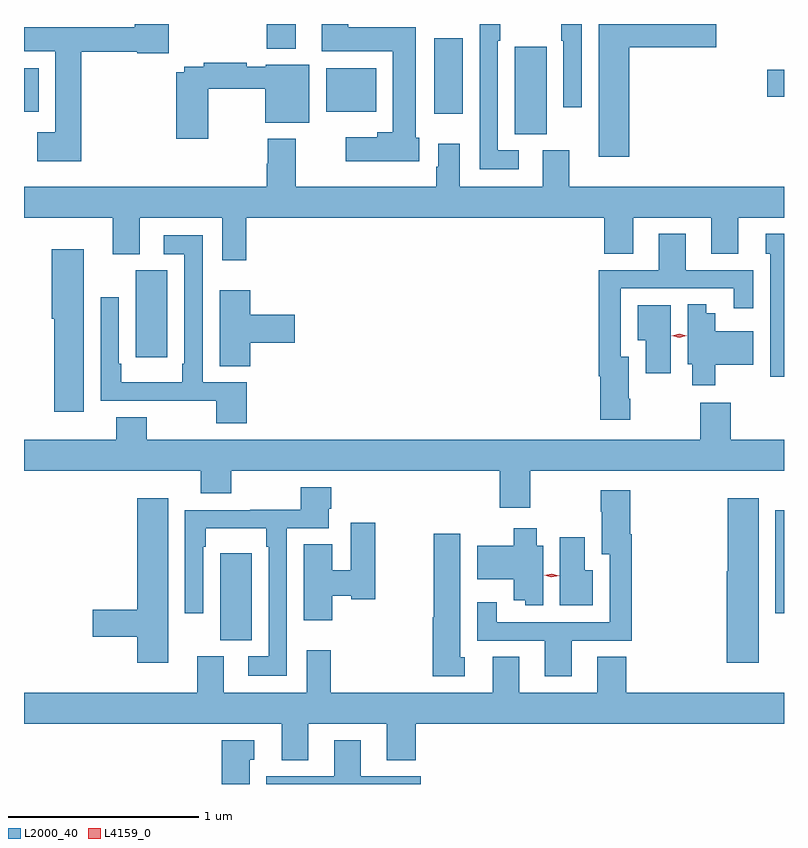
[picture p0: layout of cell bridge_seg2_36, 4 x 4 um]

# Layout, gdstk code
import gdstk
lib = gdstk.Library(unit=1e-6, precision=1e-09)
def R(c, l, rs):  # rectangles x0, y0, x1, y1
    for r in rs: c.add(gdstk.rectangle(r[:2], r[2:], *l))
def P(c, l, *ps):  # polygons
    for p in ps: c.add(gdstk.Polygon(p, *l))
L2000_40 = (2000, 40)
L4159_0 = (4159, 0)

bridge_seg2_36 = lib.new_cell('bridge_seg2_36')
R(bridge_seg2_36, L2000_40, [(768.737,606.785,768.904,607.243), (771.66,606.927,771.705,607.47), (768.293,608.274,768.46,608.731), (770.288,609.449,770.455,609.907), (769.865,609.555,770.014,609.953), (767.705,609.566,767.782,609.796), (769.295,609.566,769.558,609.796), (771.618,609.646,771.705,609.788), (768.983,609.899,769.135,610.028)])
P(bridge_seg2_36, L2000_40, [(770.891,609.905),(771.349,609.905),(771.349,610.028),(770.729,610.028),(770.729,609.33),(770.891,609.33)],
  [(769.786,609.429),(769.768,609.429),(769.768,610.012),(769.411,610.012),(769.411,610.028),(769.271,610.028),(769.271,609.884),(769.646,609.884),(769.646,609.457),(769.563,609.457),(769.563,609.433),(769.398,609.433),(769.398,609.305),(769.786,609.305)],
  [(770.64,610.028),(770.532,610.028),(770.532,609.941),(770.544,609.941),(770.544,609.591),(770.64,609.591)],
  [(770.308,609.364),(770.199,609.364),(770.199,609.941),(770.212,609.941),(770.212,610.028),(770.103,610.028),(770.103,609.263),(770.308,609.263)],
  [(768.005,609.883),(768.3,609.883),(768.3,609.875),(768.467,609.875),(768.467,610.028),(768.289,610.028),(768.289,610.012),(767.705,610.012),(767.705,609.884),(767.87,609.884),(767.87,609.457),(767.775,609.457),(767.775,609.305),(768.005,609.305)],
  [(768.676,609.688),(768.974,609.688),(768.974,609.509),(769.207,609.509),(769.207,609.814),(768.978,609.814),(768.978,609.804),(768.878,609.804),(768.878,609.824),(768.652,609.824),(768.652,609.804),(768.548,609.804),(768.548,609.775),(768.506,609.775),(768.506,609.423),(768.676,609.423)],
  [(768.875,609.008),(770.759,609.008),(770.759,608.818),(770.911,608.818),(770.911,609.008),(771.323,609.008),(771.323,608.818),(771.463,608.818),(771.463,609.008),(771.705,609.008),(771.705,609.172),(770.575,609.172),(770.575,609.364),(770.435,609.364),(770.435,609.172),(769.999,609.172),(769.999,609.397),(769.886,609.397),(769.886,609.276),(769.874,609.276),(769.874,609.172),(769.135,609.172),(769.135,609.424),(768.988,609.424),(768.988,609.293),(768.983,609.293),(768.983,609.172),(767.705,609.172),(767.705,609.008),(768.173,609.008),(768.173,608.816),(768.313,608.816),(768.313,609.008),(768.749,609.008),(768.749,608.784),(768.875,608.784)],
  [(770.895,608.056),(770.887,608.056),(770.887,608.278),(770.847,608.278),(770.847,608.637),(771.44,608.637),(771.44,608.532),(771.544,608.532),(771.544,608.733),(771.187,608.733),(771.187,608.923),(771.047,608.923),(771.047,608.733),(770.731,608.733),(770.731,608.174),(770.738,608.174),(770.738,607.944),(770.895,607.944)],
  [(771.705,608.923),(771.608,608.923),(771.608,608.82),(771.632,608.82),(771.632,608.172),(771.705,608.172)],
  [(768.878,608.142),(768.645,608.142),(768.645,608.917),(768.441,608.917),(768.441,608.816),(768.549,608.816),(768.549,608.239),(768.537,608.239),(768.537,608.143),(768.217,608.143),(768.217,608.239),(768.204,608.239),(768.204,608.59),(768.108,608.59),(768.108,608.046),(768.452,608.046),(768.452,608.045),(768.718,608.045),(768.718,607.926),(768.878,607.926)],
  [(768.019,608.842),(767.852,608.842),(767.852,608.478),(767.863,608.478),(767.863,607.986),(768.019,607.986)],
  [(768.896,608.351),(769.129,608.351),(769.129,608.498),(768.896,608.498),(768.896,608.626),(768.734,608.626),(768.734,608.227),(768.896,608.227)],
  [(771.343,608.234),(771.544,608.234),(771.544,608.41),(771.343,608.41),(771.343,608.506),(771.295,608.506),(771.295,608.552),(771.198,608.552),(771.198,608.238),(771.221,608.238),(771.221,608.126),(771.343,608.126)],
  [(771.109,608.548),(770.936,608.548),(770.936,608.363),(770.978,608.363),(770.978,608.19),(771.109,608.19)],
  [(770.37,607.676),(771.705,607.676),(771.705,607.84),(771.425,607.84),(771.425,608.035),(771.265,608.035),(771.265,607.84),(768.351,607.84),(768.351,607.957),(768.191,607.957),(768.191,607.84),(767.705,607.84),(767.705,607.676),(768.635,607.676),(768.635,607.559),(768.795,607.559),(768.795,607.676),(770.21,607.676),(770.21,607.482),(770.37,607.482)],
  [(769.089,607.374),(769.309,607.374),(769.309,607.478),(769.322,607.478),(769.322,607.591),(769.162,607.591),(769.162,607.472),(768.896,607.472),(768.896,607.47),(768.552,607.47),(768.552,606.927),(768.648,606.927),(768.648,607.277),(768.661,607.277),(768.661,607.373),(768.981,607.373),(768.981,607.277),(768.993,607.277),(768.993,606.7),(768.885,606.7),(768.885,606.599),(769.089,606.599)],
  [(770.587,606.783),(770.903,606.783),(770.903,607.342),(770.897,607.342),(770.897,607.573),(770.74,607.573),(770.74,607.46),(770.747,607.46),(770.747,607.238),(770.787,607.238),(770.787,606.879),(770.194,606.879),(770.194,606.985),(770.09,606.985),(770.09,606.783),(770.447,606.783),(770.447,606.594),(770.587,606.594)],
  [(768.463,607.531),(768.302,607.531),(768.302,606.944),(768.066,606.944),(768.066,606.802),(768.302,606.802),(768.302,606.666),(768.463,606.666)],
  [(771.571,607.531),(771.41,607.531),(771.41,607.149),(771.404,607.149),(771.404,606.666),(771.571,606.666)],
  [(769.327,607.019),(769.428,607.019),(769.428,607.001),(769.554,607.001),(769.554,607.402),(769.424,607.402),(769.424,607.153),(769.327,607.153),(769.327,607.289),(769.178,607.289),(769.178,606.891),(769.327,606.891)],
  [(770.437,607.282),(770.404,607.282),(770.404,607.375),(770.282,607.375),(770.282,607.282),(770.09,607.282),(770.09,607.106),(770.282,607.106),(770.282,606.995),(770.343,606.995),(770.343,606.968),(770.437,606.968)],
  [(770.026,606.696),(770.002,606.696),(770.002,607.345),(769.861,607.345),(769.861,606.906),(769.856,606.906),(769.856,606.594),(770.026,606.594)],
  [(770.698,607.153),(770.656,607.153),(770.656,607.327),(770.525,607.327),(770.525,606.968),(770.698,606.968)],
  [(769.201,606.344),(769.613,606.344),(769.613,606.154),(769.766,606.154),(769.766,606.344),(771.705,606.344),(771.705,606.508),(770.876,606.508),(770.876,606.698),(770.723,606.698),(770.723,606.508),(770.311,606.508),(770.311,606.698),(770.171,606.698),(770.171,606.508),(769.319,606.508),(769.319,606.733),(769.193,606.733),(769.193,606.508),(768.757,606.508),(768.757,606.7),(768.617,606.7),(768.617,606.508),(767.705,606.508),(767.705,606.344),(769.061,606.344),(769.061,606.154),(769.201,606.154)],
  [(768.892,606.156),(768.916,606.156),(768.916,606.259),(768.746,606.259),(768.746,606.028),(768.892,606.028)],
  [(769.793,606.069),(769.477,606.069),(769.477,606.259),(769.337,606.259),(769.337,606.069),(768.98,606.069),(768.98,606.028),(769.793,606.028)])
P(bridge_seg2_36, L4159_0, [(771.153,608.378),(771.113,608.388),(771.112,608.388),(771.113,608.388),(771.153,608.397),(771.194,608.387),(771.194,608.387),(771.194,608.386)],
  [(770.481,607.115),(770.442,607.126),(770.441,607.126),(770.442,607.126),(770.482,607.135),(770.521,607.125),(770.522,607.124),(770.521,607.124)])

lib.write_gds('bridge_seg2_36.gds')
